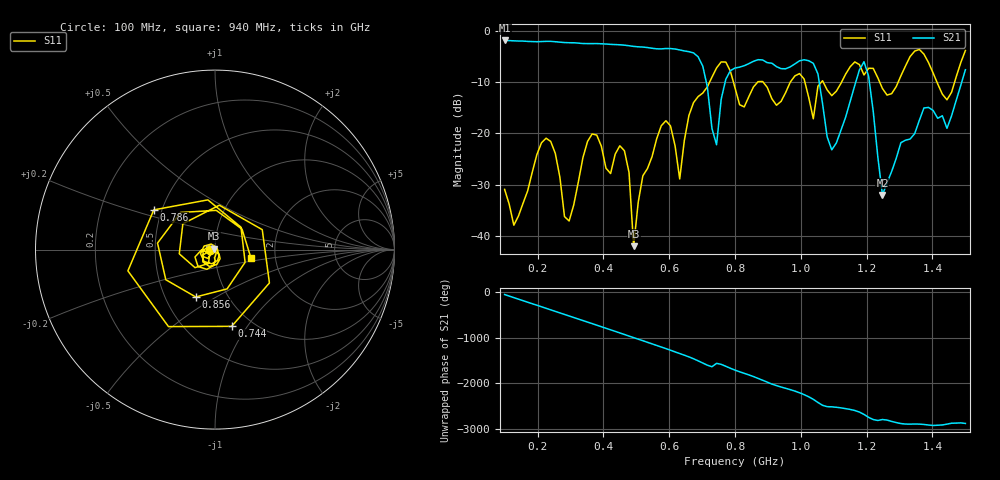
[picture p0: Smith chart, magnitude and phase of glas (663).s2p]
! NanoVNA-App
! Date: 2025-09-25 16:00:38
! Start: 100MHz Stop: 1,5GHz Points: 101
! S-Parameter data: F S11 S21 S12 S22
# Hz S RI R 50
!  Frequency  S11_Real  S11_Imag  S21_Real  S21_Imag  S12_Real  S12_Imag  S22_Real  S22_Imag
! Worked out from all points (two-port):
!   101 points, 100 MHz to 1.5 GHz, reference 50 ohm
!   highest |S21| = -1.80 dB at 100 MHz (marker M1); lowest = -32.0 dB at 1.248 GHz (marker M2)
!   |S21| within 3 dB of the highest: start of sweep to 684.4 MHz
!   lowest |S11| = -42.0 dB at 492 MHz (marker M3), VSWR 1.02, Z = 49.5 + j0.604 ohm
!   |S11| at or under -10 dB: start of sweep to 722.5 MHz; 795.4 MHz to 868.1 MHz (72.71 MHz wide, 8.74 % of centre); 886 MHz to 967.6 MHz (81.57 MHz wide, 8.8 % of centre) (the widest 3 of 7)
!   S12 and S22 are empty: the file has one direction only
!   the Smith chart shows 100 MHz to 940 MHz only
!   S11 on the Smith chart (normalised r, x): 100 MHz: 0.94, -0.01; 744 MHz: 0.80, -0.85; 786 MHz: 0.45, +0.24; 856 MHz: 0.71, -0.41; 940 MHz: 1.49, -0.15
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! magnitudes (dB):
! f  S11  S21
! 100 MHz  -30.9  -1.8
! 128 MHz  -37.9  -1.9
! 226 MHz  -20.9  -2.0
! 296 MHz  -37.1  -2.2
! 338 MHz  -24.7  -2.4
! 464 MHz  -23.4  -2.7
! 492 MHz  -42.0  -3.0
! 576 MHz  -18.5  -3.4
! 632 MHz  -28.9  -3.7
! 702 MHz  -12.1  -6.8
! 744 MHz  -7.2  -22.2
! 786 MHz  -7.8  -7.7
! 800 MHz  -11.1  -7.2
! 856 MHz  -10.9  -5.9
! 940 MHz  -13.7  -7.3
! 1.038 GHz  -17.1  -6.3
! 1.094 GHz  -12.6  -23.2
! 1.192 GHz  -8.6  -6.0
! 1.248 GHz  -11.2  -32.0
! 1.276 GHz  -12.2  -27.4
! 1.444 GHz  -13.4  -19.0
! 1.5 GHz  -3.8  -7.5
